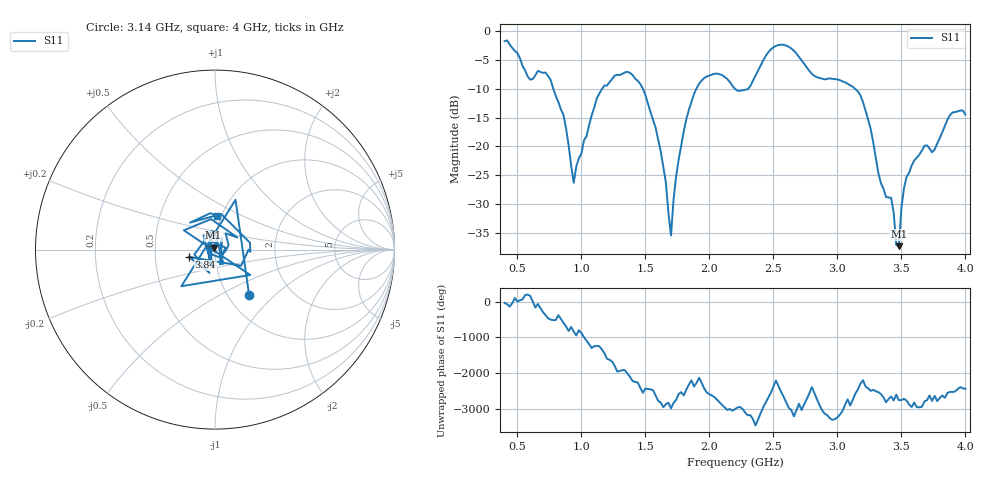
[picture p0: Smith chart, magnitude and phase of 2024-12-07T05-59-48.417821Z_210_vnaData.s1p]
!Created with skrf (http://scikit-rf.org).
# Hz S RI R 50.0
!freq ReS11 ImS11
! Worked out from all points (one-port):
!   181 points, 400 MHz to 4 GHz, reference 50 ohm
!   lowest |S11| = -37.3 dB at 3.48 GHz (marker M1), VSWR 1.03, Z = 49.2 + j1.09 ohm
!   |S11| at or under -10 dB: 780 MHz to 1.162 GHz (382 MHz wide, 39.3 % of centre); 1.481 GHz to 1.898 GHz (417 MHz wide, 24.7 % of centre); 3.138 GHz to end of sweep (the widest 3 of 4)
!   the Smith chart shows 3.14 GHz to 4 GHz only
!   S11 on the Smith chart (normalised r, x): 3.14 GHz: 1.25, -0.70; 3.84 GHz: 0.74, -0.06; 4 GHz: 0.95, +0.37
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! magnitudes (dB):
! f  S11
! 400 MHz  -1.7
! 600 MHz  -8.4
! 720 MHz  -7.2
! 860 MHz  -14.6
! 940 MHz  -26.3
! 1.12 GHz  -11.7
! 1.3 GHz  -7.6
! 1.5 GHz  -11.1
! 1.62 GHz  -20.9
! 1.7 GHz  -35.5
! 1.76 GHz  -22.3
! 1.92 GHz  -9.1
! 2.06 GHz  -7.4
! 2.2 GHz  -10.0
! 2.3 GHz  -10.1
! 2.5 GHz  -2.8
! 2.66 GHz  -3.4
! 3.1 GHz  -9.4
! 3.14 GHz  -10.0
! 3.26 GHz  -17.0
! 3.34 GHz  -26.4
! 3.42 GHz  -29.0
! 3.46 GHz  -37.1
! 3.48 GHz  -37.3
! 3.52 GHz  -27.3
! 3.56 GHz  -24.6
! 3.84 GHz  -16.4
! 4 GHz  -14.5
